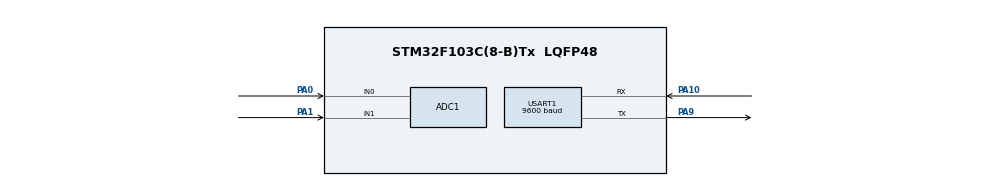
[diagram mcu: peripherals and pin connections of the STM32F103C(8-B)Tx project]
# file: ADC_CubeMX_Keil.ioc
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ADC1.Channel-0\#ChannelRegularConversion=ADC_CHANNEL_0
ADC1.NbrOfConversionFlag=1
ADC1.Rank-0\#ChannelRegularConversion=1
ADC1.SamplingTime-0\#ChannelRegularConversion=ADC_SAMPLETIME_239CYCLES_5
ADC1.master=1
Mcu.Family=STM32F1
Mcu.Name=STM32F103C(8-B)Tx
Mcu.Package=LQFP48
NVIC.PriorityGroup=NVIC_PRIORITYGROUP_4
PA0-WKUP.Signal=SharedAnalog_PA0
PA1.GPIO_Mode=GPIO_MODE_ANALOG
PA1.Signal=SharedAnalog_PA1
PA10.Mode=Asynchronous
PA10.Signal=USART1_RX
PA9.Mode=Asynchronous
PA9.Signal=USART1_TX
ProjectManager.HeapSize=0x200
ProjectManager.StackSize=0x400
ProjectManager.TargetToolchain=MDK-ARM V5.32
RCC.APB1Freq_Value=8000000
RCC.APB2Freq_Value=8000000
SH.SharedAnalog_PA0.0=GPIO_Analog
SH.SharedAnalog_PA0.1=ADC1_IN0,IN0
SH.SharedAnalog_PA1.0=GPIO_Analog
SH.SharedAnalog_PA1.1=ADC1_IN1,IN1
USART1.BaudRate=9600
USART1.VirtualMode=VM_ASYNC
VP_SYS_VS_ND.Mode=No_Debug
board=custom

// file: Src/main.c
/* USER CODE BEGIN Header */
/**
  ******************************************************************************
  * @file           : main.c
  * @brief          : Main program body
  ******************************************************************************
  * @attention
  *
  * Copyright (c) 2026 STMicroelectronics.
  * All rights reserved.
  *
  * This software is licensed under terms that can be found in the LICENSE file
  * in the root directory of this software component.
  * If no LICENSE file comes with this software, it is provided AS-IS.
  *
  ******************************************************************************
  */
/* USER CODE END Header */
#include "main.h"

/* USER CODE BEGIN Includes */
#include <stdio.h>   /* snprintf 把数值组成可读的串口文本。 */
#include <string.h>  /* strlen 取得需要发送的文本长度。 */

/* USER CODE END Includes */

/* USER CODE BEGIN PD */
#define ADC_REFERENCE_MILLIVOLTS 3300   /* VDDA 为 3.3 V，即 3300 mV。 */
#define ADC_MAXIMUM_CODE 4095           /* 12 位 ADC 的最大数字读数。 */
#define ADC_TIMEOUT_MILLISECONDS 20    /* 最多等待一次 ADC 转换 20 ms。 */
#define UART_TIMEOUT_MILLISECONDS 100  /* 最多等待串口发送 100 ms。 */
#define REPORT_PERIOD_MILLISECONDS 500 /* 两次报告之间等待 500 ms。 */

/* USER CODE END PD */

ADC_HandleTypeDef hadc1;

UART_HandleTypeDef huart1;

void SystemClock_Config(void);
static void MX_GPIO_Init(void);
static void MX_ADC1_Init(void);
static void MX_USART1_UART_Init(void);
/* USER CODE BEGIN PFP */
static uint32_t ReadAdcChannel(uint32_t channel);         /* 声明单通道采样函数。 */
static void SendReport(uint32_t va_raw, uint32_t vb_raw); /* 声明串口报告函数。 */

/* USER CODE END PFP */

/* USER CODE BEGIN 0 */
static uint32_t ReadAdcChannel(uint32_t channel)
{
  ADC_ChannelConfTypeDef selected = {0}; /* 准备并清空通道配置结构。 */
  selected.Channel = channel; /* 使用传入的 IN0 或 IN1 通道。 */
  selected.Rank = ADC_REGULAR_RANK_1; /* 单通道转换只用序列中的第 1 位。 */
  selected.SamplingTime = ADC_SAMPLETIME_239CYCLES_5; /* 留够分压节点的采样时间。 */
  if (HAL_ADC_ConfigChannel(&hadc1, &selected) != HAL_OK) /* 切换 ADC1 输入通道。 */
  {
    Error_Handler(); /* 通道配置失败时停止，避免报告错误电压。 */
  }
  if (HAL_ADC_Start(&hadc1) != HAL_OK) /* 软件启动一次转换。 */
  {
    Error_Handler(); /* ADC 不能启动时停止。 */
  }
  if (HAL_ADC_PollForConversion(&hadc1, ADC_TIMEOUT_MILLISECONDS) != HAL_OK) /* 等待转换结束。 */
  {
    Error_Handler(); /* 转换超时或失败时停止。 */
  }
  uint32_t sample = HAL_ADC_GetValue(&hadc1); /* 取得 0～4095 的原始 ADC 值。 */
  if (HAL_ADC_Stop(&hadc1) != HAL_OK) /* 停止本次转换。 */
  {
    Error_Handler(); /* ADC 无法停止时停止程序。 */
  }
  return sample; /* 将原始读数交回主循环。 */
}

static void SendReport(uint32_t va_raw, uint32_t vb_raw)
{
  char line[96]; /* 为终端的一行输出准备空间。 */
  uint32_t va_mv = va_raw * ADC_REFERENCE_MILLIVOLTS / ADC_MAXIMUM_CODE; /* VA 换算成毫伏。 */
  uint32_t vb_mv = vb_raw * ADC_REFERENCE_MILLIVOLTS / ADC_MAXIMUM_CODE; /* VB 换算成毫伏。 */
  int written = snprintf(line, sizeof(line), "VA=%lu mV (%lu)  VB=%lu mV (%lu)\r\n",
                         (unsigned long)va_mv, (unsigned long)va_raw,
                         (unsigned long)vb_mv, (unsigned long)vb_raw); /* 拼出带原始码值的报告。 */
  if (written < 0 || written >= (int)sizeof(line)) /* 检查格式化是否出错或超长。 */
  {
    Error_Handler(); /* 避免发送不完整报告。 */
  }
  if (HAL_UART_Transmit(&huart1, (uint8_t *)line, (uint16_t)strlen(line),
                        UART_TIMEOUT_MILLISECONDS) != HAL_OK) /* 从 PA9 发向终端 RXD。 */
  {
    Error_Handler(); /* 串口发送失败时停止。 */
  }
}

/* USER CODE END 0 */

int main(void)
{

  /* MCU Configuration--------------------------------------------------------*/

  /* Reset of all peripherals, Initializes the Flash interface and the Systick. */
  HAL_Init();

  /* Configure the system clock */
  SystemClock_Config();

  /* Initialize all configured peripherals */
  MX_GPIO_Init();
  MX_ADC1_Init();
  MX_USART1_UART_Init();
  /* USER CODE BEGIN 2 */
  if (HAL_ADCEx_Calibration_Start(&hadc1) != HAL_OK) /* 初始化之后执行 ADC 校准。 */
  {
    Error_Handler(); /* 校准失败时不继续读取。 */
  }

  /* USER CODE END 2 */

  /* Infinite loop */
  while (1)
  {

    /* USER CODE BEGIN 3 */
    uint32_t vb_raw = ReadAdcChannel(ADC_CHANNEL_0); /* PA0 / 引脚 10 对应 DIV_VB。 */
    uint32_t va_raw = ReadAdcChannel(ADC_CHANNEL_1); /* PA1 / 引脚 11 对应 DIV_VA。 */
    SendReport(va_raw, vb_raw); /* 输出这一次测得的两路电压。 */
    HAL_Delay(REPORT_PERIOD_MILLISECONDS); /* 每 500 ms 再重复。 */
  }
  /* USER CODE END 3 */
}

void SystemClock_Config(void)
{
  RCC_OscInitTypeDef RCC_OscInitStruct = {0};
  RCC_ClkInitTypeDef RCC_ClkInitStruct = {0};
  RCC_PeriphCLKInitTypeDef PeriphClkInit = {0};

  /** Initializes the RCC Oscillators according to the specified parameters
  * in the RCC_OscInitTypeDef structure.
  */
  RCC_OscInitStruct.OscillatorType = RCC_OSCILLATORTYPE_HSI;
  RCC_OscInitStruct.HSIState = RCC_HSI_ON;
  RCC_OscInitStruct.HSICalibrationValue = RCC_HSICALIBRATION_DEFAULT;
  RCC_OscInitStruct.PLL.PLLState = RCC_PLL_NONE;
  if (HAL_RCC_OscConfig(&RCC_OscInitStruct) != HAL_OK)
  {
    Error_Handler();
  }

  /** Initializes the CPU, AHB and APB buses clocks
  */
  RCC_ClkInitStruct.ClockType = RCC_CLOCKTYPE_HCLK|RCC_CLOCKTYPE_SYSCLK
                              |RCC_CLOCKTYPE_PCLK1|RCC_CLOCKTYPE_PCLK2;
  RCC_ClkInitStruct.SYSCLKSource = RCC_SYSCLKSOURCE_HSI;
  RCC_ClkInitStruct.AHBCLKDivider = RCC_SYSCLK_DIV1;
  RCC_ClkInitStruct.APB1CLKDivider = RCC_HCLK_DIV1;
  RCC_ClkInitStruct.APB2CLKDivider = RCC_HCLK_DIV1;

  if (HAL_RCC_ClockConfig(&RCC_ClkInitStruct, FLASH_LATENCY_0) != HAL_OK)
  {
    Error_Handler();
  }
  PeriphClkInit.PeriphClockSelection = RCC_PERIPHCLK_ADC;
  PeriphClkInit.AdcClockSelection = RCC_ADCPCLK2_DIV2;
  if (HAL_RCCEx_PeriphCLKConfig(&PeriphClkInit) != HAL_OK)
  {
    Error_Handler();
  }
}

static void MX_ADC1_Init(void)
{

  ADC_ChannelConfTypeDef sConfig = {0};

  /** Common config
  */
  hadc1.Instance = ADC1;
  hadc1.Init.ScanConvMode = ADC_SCAN_DISABLE;
  hadc1.Init.ContinuousConvMode = DISABLE;
  hadc1.Init.DiscontinuousConvMode = DISABLE;
  hadc1.Init.ExternalTrigConv = ADC_SOFTWARE_START;
  hadc1.Init.DataAlign = ADC_DATAALIGN_RIGHT;
  hadc1.Init.NbrOfConversion = 1;
  if (HAL_ADC_Init(&hadc1) != HAL_OK)
  {
    Error_Handler();
  }

  /** Configure Regular Channel
  */
  sConfig.Channel = ADC_CHANNEL_0;
  sConfig.Rank = ADC_REGULAR_RANK_1;
  sConfig.SamplingTime = ADC_SAMPLETIME_239CYCLES_5;
  if (HAL_ADC_ConfigChannel(&hadc1, &sConfig) != HAL_OK)
  {
    Error_Handler();
  }

}

static void MX_USART1_UART_Init(void)
{

  huart1.Instance = USART1;
  huart1.Init.BaudRate = 9600;
  huart1.Init.WordLength = UART_WORDLENGTH_8B;
  huart1.Init.StopBits = UART_STOPBITS_1;
  huart1.Init.Parity = UART_PARITY_NONE;
  huart1.Init.Mode = UART_MODE_TX_RX;
  huart1.Init.HwFlowCtl = UART_HWCONTROL_NONE;
  huart1.Init.OverSampling = UART_OVERSAMPLING_16;
  if (HAL_UART_Init(&huart1) != HAL_OK)
  {
    Error_Handler();
  }

}

static void MX_GPIO_Init(void)
{

  /* GPIO Ports Clock Enable */
  __HAL_RCC_GPIOA_CLK_ENABLE();

}

void Error_Handler(void)
{
  __disable_irq();
  while (1)
  {
  }
}
